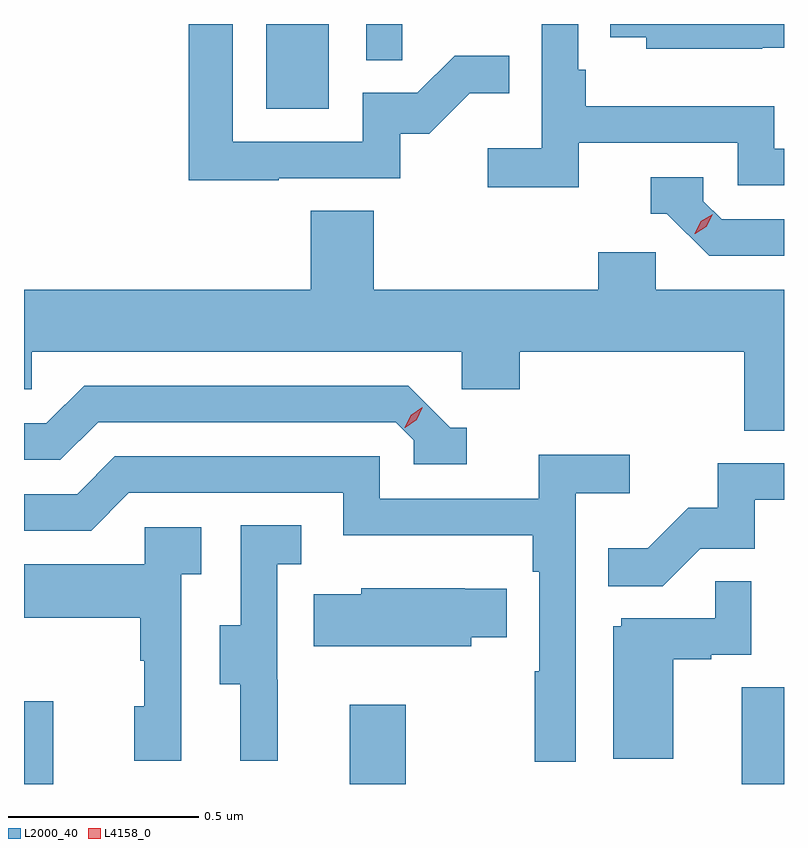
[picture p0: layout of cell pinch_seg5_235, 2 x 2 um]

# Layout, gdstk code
import gdstk
lib = gdstk.Library(unit=1e-6, precision=1e-09)
def R(c, l, rs):  # rectangles x0, y0, x1, y1
    for r in rs: c.add(gdstk.rectangle(r[:2], r[2:], *l))
def P(c, l, *ps):  # polygons
    for p in ps: c.add(gdstk.Polygon(p, *l))
L2000_40 = (2000, 40)
L4158_0 = (4158, 0)

pinch_seg5_235 = lib.new_cell('pinch_seg5_235')
R(pinch_seg5_235, L2000_40, [(984.084,907.571,984.161,907.789), (984.941,907.571,985.089,907.78), (985.973,907.571,986.084,907.826), (984.722,909.348,984.886,909.571), (984.984,909.475,985.079,909.571)])
P(pinch_seg5_235, L2000_40, [(984.755,909.165),(985.074,909.165),(985.074,909.282),(985.15,909.282),(985.257,909.389),(985.361,909.389),(985.361,909.488),(985.217,909.488),(985.119,909.39),(984.975,909.39),(984.975,909.261),(984.633,909.261),(984.633,909.571),(984.517,909.571),(984.517,909.16),(984.755,909.16)],
  [(985.544,909.258),(985.962,909.258),(985.962,909.147),(986.084,909.147),(986.084,909.243),(986.058,909.243),(986.058,909.355),(985.562,909.355),(985.562,909.451),(985.542,909.451),(985.542,909.571),(985.446,909.571),(985.446,909.244),(985.305,909.244),(985.305,909.142),(985.544,909.142)],
  [(986.027,909.509),(986.084,909.509),(986.084,909.571),(985.627,909.571),(985.627,909.536),(985.721,909.536),(985.721,909.506),(986.027,909.506)],
  [(986.084,909.057),(985.92,909.057),(985.872,909.105),(985.872,909.168),(985.733,909.168),(985.733,909.072),(985.776,909.072),(985.887,908.961),(986.084,908.961)],
  [(984.084,908.61),(984.105,908.61),(984.105,908.708),(985.236,908.708),(985.236,908.61),(985.388,908.61),(985.388,908.708),(985.979,908.708),(985.979,908.5),(986.084,908.5),(986.084,908.872),(985.746,908.872),(985.746,908.97),(985.595,908.97),(985.595,908.872),(985.004,908.872),(985.004,909.08),(984.839,909.08),(984.839,908.872),(984.084,908.872)],
  [(985.249,908.508),(985.206,908.508),(985.095,908.619),(984.242,908.619),(984.143,908.52),(984.084,908.52),(984.084,908.424),(984.18,908.424),(984.279,908.523),(985.062,908.523),(985.11,908.475),(985.11,908.412),(985.249,908.412)],
  [(985.536,908.336),(985.678,908.336),(985.678,908.438),(985.439,908.438),(985.439,908.322),(985.02,908.322),(985.02,908.433),(984.323,908.433),(984.224,908.334),(984.084,908.334),(984.084,908.238),(984.261,908.238),(984.36,908.337),(984.924,908.337),(984.924,908.225),(985.423,908.225),(985.423,908.129),(985.44,908.129),(985.44,907.868),(985.428,907.868),(985.428,907.629),(985.536,907.629)],
  [(985.863,908.19),(986.007,908.19),(986.007,908.319),(986.084,908.319),(986.084,908.415),(985.909,908.415),(985.909,908.298),(985.832,908.298),(985.725,908.191),(985.621,908.191),(985.621,908.092),(985.765,908.092)],
  [(984.752,907.845),(984.75,907.845),(984.75,908.149),(984.814,908.149),(984.814,908.252),(984.654,908.252),(984.654,907.989),(984.599,907.989),(984.599,907.834),(984.653,907.834),(984.653,907.632),(984.752,907.632)],
  [(984.498,908.123),(984.55,908.123),(984.55,908.247),(984.402,908.247),(984.402,908.149),(984.084,908.149),(984.084,908.009),(984.39,908.009),(984.39,907.895),(984.4,907.895),(984.4,907.776),(984.374,907.776),(984.374,907.632),(984.498,907.632)],
  [(985.792,907.899),(985.892,907.899),(985.892,907.911),(985.998,907.911),(985.998,908.105),(985.903,908.105),(985.903,908.007),(985.656,908.007),(985.656,907.986),(985.634,907.986),(985.634,907.638),(985.792,907.638)],
  [(985.261,907.957),(985.355,907.957),(985.355,908.085),(985.244,908.085),(985.244,908.086),(984.972,908.086),(984.972,908.071),(984.847,908.071),(984.847,907.934),(985.261,907.934)])
P(pinch_seg5_235, L4158_0, [(985.849,909.019),(985.849,909.019),(985.865,909.052),(985.896,909.071),(985.896,909.071),(985.896,909.071),(985.88,909.038),(985.85,909.019)],
  [(985.086,908.508),(985.086,908.509),(985.102,908.542),(985.132,908.562),(985.132,908.562),(985.132,908.561),(985.117,908.529),(985.087,908.508)])

lib.write_gds('pinch_seg5_235.gds')
